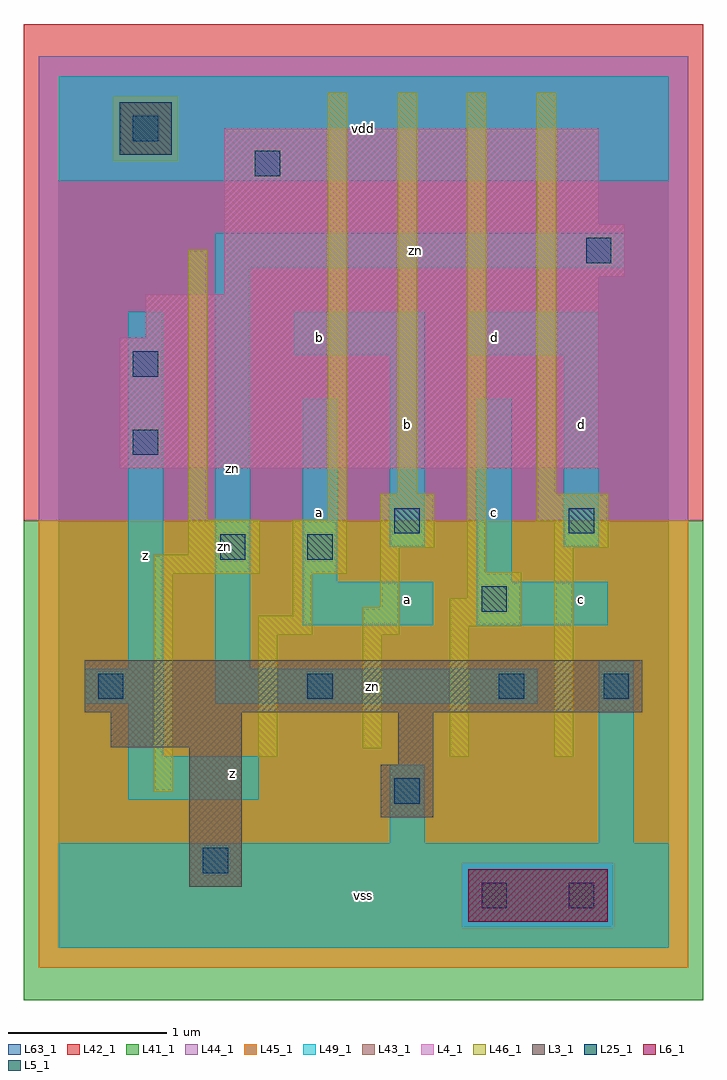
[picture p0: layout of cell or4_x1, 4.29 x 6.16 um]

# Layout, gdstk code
import gdstk
lib = gdstk.Library(unit=1e-6, precision=1e-09)
def R(c, l, rs):  # rectangles x0, y0, x1, y1
    for r in rs: c.add(gdstk.rectangle(r[:2], r[2:], *l))
L3_1 = (3, 1)
L4_1 = (4, 1)
L5_1 = (5, 1)
L6_1 = (6, 1)
L25_1 = (25, 1)
L41_1 = (41, 1)
L42_1 = (42, 1)
L43_1 = (43, 1)
L44_1 = (44, 1)
L45_1 = (45, 1)
L46_1 = (46, 1)
L49_1 = (49, 1)
L63_1 = (63, 1)

or4_x1 = lib.new_cell('or4_x1')
R(or4_x1, L3_1, [(0.825,0.385,1.155,1.265), (2.035,0.825,2.365,1.155), (2.145,1.155,2.365,1.485), (0.33,1.265,1.155,1.485), (0.165,1.485,3.685,1.815)])
R(or4_x1, L4_1, [(0.385,3.025,3.41,3.85), (0.55,3.85,3.41,4.125), (1.045,4.125,3.41,4.235), (1.045,4.235,3.575,4.565), (1.045,4.565,3.41,5.17)])
R(or4_x1, L5_1, [(0.385,5.005,0.715,5.335)])
R(or4_x1, L6_1, [(2.585,0.165,3.465,0.495)])
R(or4_x1, L25_1, [(2.67,0.25,2.83,0.41), (3.22,0.25,3.38,0.41), (0.91,0.47,1.07,0.63), (2.12,0.91,2.28,1.07), (0.25,1.57,0.41,1.73), (1.57,1.57,1.73,1.73), (2.78,1.57,2.94,1.73), (3.44,1.57,3.6,1.73), (2.67,2.12,2.83,2.28), (1.02,2.45,1.18,2.61), (1.57,2.45,1.73,2.61), (2.12,2.615,2.28,2.775), (3.22,2.615,3.38,2.775), (0.47,3.11,0.63,3.27), (0.47,3.605,0.63,3.765), (3.33,4.32,3.49,4.48), (1.24,4.87,1.4,5.03), (0.47,5.09,0.63,5.25)])
R(or4_x1, L41_1, [(-0.22,-0.33,4.07,2.695)])
R(or4_x1, L42_1, [(-0.22,2.695,4.07,5.83)])
R(or4_x1, L43_1, [(2.585,0.165,3.465,0.495), (0.825,0.385,1.155,1.265), (2.035,0.825,2.365,1.155), (2.145,1.155,2.365,1.485), (0.33,1.265,1.155,1.485), (0.165,1.485,3.685,1.815), (0.385,3.025,3.41,3.85), (0.55,3.85,3.41,4.125), (1.045,4.125,3.41,4.235), (1.045,4.235,3.575,4.565), (1.045,4.565,3.41,5.17), (0.385,5.005,0.715,5.335)])
R(or4_x1, L44_1, [(2.545,0.125,3.505,0.535), (-0.125,2.695,3.975,4.965), (-0.125,4.965,0.345,5.375), (0.755,4.965,3.975,5.375), (-0.125,5.375,3.975,5.625)])
R(or4_x1, L45_1, [(-0.125,-0.125,3.975,0.125), (-0.125,0.125,2.545,0.535), (3.505,0.125,3.975,0.535), (-0.125,0.535,3.975,2.695), (0.345,4.965,0.755,5.375)])
R(or4_x1, L46_1, [(0.6,0.985,0.72,2.36), (1.26,1.205,1.38,1.975), (2.47,1.205,2.59,2.03), (3.13,1.205,3.25,2.525), (1.92,1.26,2.04,1.975), (1.26,1.975,1.6,2.095), (1.92,1.975,2.15,2.15), (2.47,2.03,2.92,2.205), (1.48,2.095,1.6,2.36), (2.03,2.15,2.15,2.525), (2.58,2.205,2.92,2.37), (0.6,2.36,1.27,2.48), (1.48,2.36,1.82,2.7), (2.58,2.37,2.7,5.395), (0.82,2.48,1.27,2.7), (2.03,2.525,2.37,2.865), (3.13,2.525,3.47,2.69), (3.02,2.69,3.47,2.865), (0.82,2.7,0.94,4.405), (1.7,2.7,1.82,5.395), (2.14,2.865,2.26,5.395), (3.02,2.865,3.14,5.395)])
R(or4_x1, L49_1, [(0,0,3.85,0.66), (2.09,0.66,2.31,1.155), (3.41,0.66,3.63,1.815), (0.44,0.935,1.265,1.21), (0.44,1.21,0.66,1.54), (0.165,1.54,0.66,1.76), (0.99,1.54,3.025,1.76), (0.44,1.76,0.66,4.015), (0.99,1.76,1.21,4.29), (1.54,2.035,2.365,2.31), (2.64,2.035,3.465,2.31), (1.54,2.31,1.76,3.465), (2.64,2.31,2.86,3.465), (2.09,2.53,2.31,3.74), (3.19,2.53,3.41,3.74), (1.485,3.74,2.31,4.015), (2.585,3.74,3.41,4.015), (0.99,4.29,3.575,4.51), (0,4.84,3.85,5.5)])
R(or4_x1, L63_1, [(0,0,3.85,5.5)])
or4_x1.add(gdstk.Label('zn', (1.045,2.53), layer=49, texttype=1))
or4_x1.add(gdstk.Label('z', (1.1,1.1), layer=49, texttype=1))
or4_x1.add(gdstk.Label('z', (1.1,1.1), layer=49, texttype=1))
or4_x1.add(gdstk.Label('z', (0.55,2.475), layer=49, texttype=1))
or4_x1.add(gdstk.Label('z', (0.55,2.475), layer=49, texttype=1))
or4_x1.add(gdstk.Label('zn', (1.1,3.025), layer=49, texttype=1))
or4_x1.add(gdstk.Label('vss', (1.925,0.33), layer=49, texttype=1))
or4_x1.add(gdstk.Label('vss', (1.925,0.33), layer=49, texttype=1))
or4_x1.add(gdstk.Label('a', (1.65,2.75), layer=49, texttype=1))
or4_x1.add(gdstk.Label('a', (1.65,2.75), layer=49, texttype=1))
or4_x1.add(gdstk.Label('b', (1.65,3.85), layer=49, texttype=1))
or4_x1.add(gdstk.Label('b', (1.65,3.85), layer=49, texttype=1))
or4_x1.add(gdstk.Label('vdd', (1.925,5.17), layer=49, texttype=1))
or4_x1.add(gdstk.Label('vdd', (1.925,5.17), layer=49, texttype=1))
or4_x1.add(gdstk.Label('zn', (1.98,1.65), layer=49, texttype=1))
or4_x1.add(gdstk.Label('a', (2.2,2.2), layer=49, texttype=1))
or4_x1.add(gdstk.Label('a', (2.2,2.2), layer=49, texttype=1))
or4_x1.add(gdstk.Label('c', (2.75,2.75), layer=49, texttype=1))
or4_x1.add(gdstk.Label('c', (2.75,2.75), layer=49, texttype=1))
or4_x1.add(gdstk.Label('b', (2.2,3.3), layer=49, texttype=1))
or4_x1.add(gdstk.Label('b', (2.2,3.3), layer=49, texttype=1))
or4_x1.add(gdstk.Label('d', (2.75,3.85), layer=49, texttype=1))
or4_x1.add(gdstk.Label('d', (2.75,3.85), layer=49, texttype=1))
or4_x1.add(gdstk.Label('c', (3.3,2.2), layer=49, texttype=1))
or4_x1.add(gdstk.Label('c', (3.3,2.2), layer=49, texttype=1))
or4_x1.add(gdstk.Label('d', (3.3,3.3), layer=49, texttype=1))
or4_x1.add(gdstk.Label('d', (3.3,3.3), layer=49, texttype=1))
or4_x1.add(gdstk.Label('zn', (2.255,4.4), layer=49, texttype=1))

lib.write_gds('or4_x1.gds')
